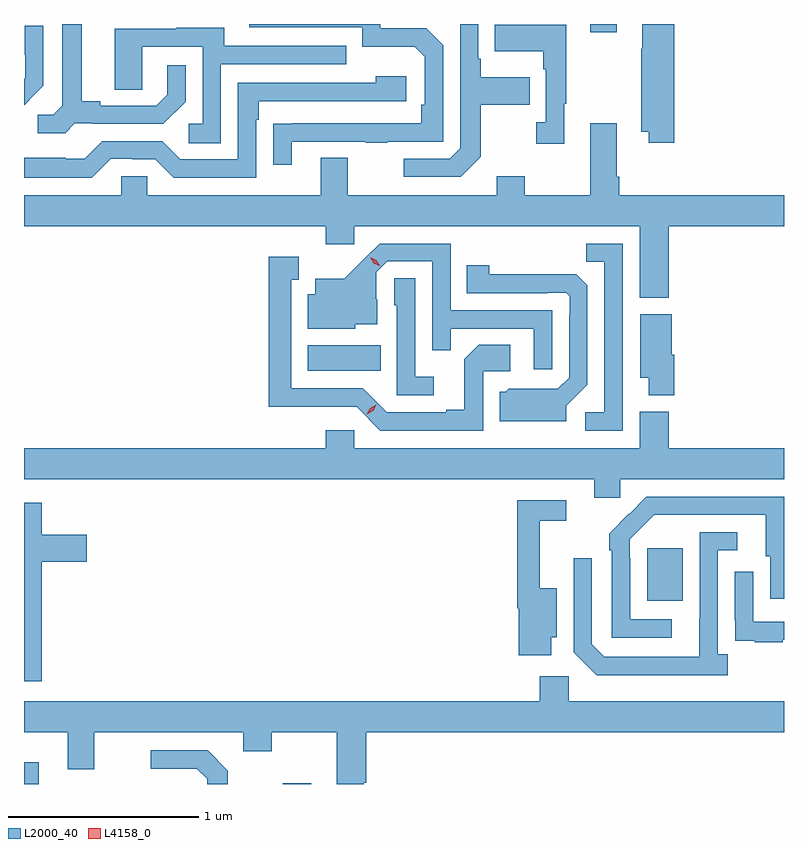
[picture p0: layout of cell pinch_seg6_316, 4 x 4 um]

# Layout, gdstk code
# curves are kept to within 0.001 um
import gdstk
lib = gdstk.Library(unit=1e-6, precision=1e-09)
def R(c, l, rs):  # rectangles x0, y0, x1, y1
    for r in rs: c.add(gdstk.rectangle(r[:2], r[2:], *l))
def P(c, l, *ps):  # polygons
    for p in ps: c.add(gdstk.Polygon(p, *l))
L2000_40 = (2000, 40)
L4158_0 = (4158, 0)

pinch_seg6_316 = lib.new_cell('pinch_seg6_316')
R(pinch_seg6_316, L2000_40, [(634.934,959.052,635.011,959.167), (636.297,959.052,636.445,959.056), (638.213,960.017,638.401,960.292), (636.428,961.226,636.812,961.36), (637.913,963.009,638.053,963.052)])
P(pinch_seg6_316, L2000_40, [(636.343,962.433),(636.733,962.433),(636.733,962.428),(636.845,962.428),(636.845,962.433),(637.14,962.433),(637.14,962.94),(637.05,963.03),(636.81,963.03),(636.81,963.052),(636.119,963.052),(636.119,963.036),(636.714,963.036),(636.714,962.933),(636.991,962.933),(637.044,962.88),(637.044,962.626),(637.024,962.626),(637.024,962.529),(636.247,962.528),(636.247,962.31),(636.343,962.31)],
  [(637.339,962.353),(637.339,962.626),(637.595,962.626),(637.595,962.773),(637.339,962.773),(637.339,962.869),(637.326,962.869),(637.326,963.052),(637.23,963.052),(637.23,962.397),(637.176,962.343),(636.933,962.343),(636.933,962.247),(637.233,962.247)],
  [(635.202,962.529),(635.296,962.529),(635.296,962.526),(635.668,962.526),(635.784,962.642),(635.784,962.836),(635.687,962.836),(635.687,962.679),(635.63,962.622),(635.335,962.622),(635.335,962.645),(635.239,962.645),(635.239,963.052),(635.135,963.052),(635.135,962.621),(635.088,962.574),(635.007,962.574),(635.007,962.477),(635.15,962.477)],
  [(638.357,963.052),(638.189,963.052),(638.189,962.921),(638.182,962.921),(638.182,962.486),(638.222,962.486),(638.222,962.427),(638.357,962.427)],
  [(637.777,962.633),(637.789,962.633),(637.789,963.049),(637.411,963.049),(637.411,962.909),(637.668,962.909),(637.668,962.813),(637.68,962.813),(637.68,962.534),(637.629,962.534),(637.629,962.421),(637.777,962.421)],
  [(634.962,962.652),(634.961,962.653),(635.034,962.726),(635.034,963.044),(634.938,963.044),(634.938,962.89),(634.94,962.89),(634.94,962.768),(634.934,962.762),(634.934,962.624)],
  [(635.97,962.841),(636.629,962.841),(636.629,962.937),(635.989,962.937),(635.989,963.031),(635.735,963.031),(635.735,963.027),(635.411,963.027),(635.411,962.707),(635.556,962.707),(635.556,962.931),(635.874,962.931),(635.874,962.526),(635.802,962.526),(635.802,962.425),(635.97,962.425)],
  [(635.391,962.343),(635.507,962.343),(635.507,962.34),(635.625,962.34),(635.721,962.244),(636.156,962.244),(636.156,962.549),(636.169,962.549),(636.169,962.646),(636.946,962.646),(636.946,962.776),(636.785,962.776),(636.785,962.742),(636.06,962.742),(636.06,962.34),(635.757,962.34),(635.661,962.436),(635.346,962.436),(635.253,962.343),(635.153,962.343),(635.153,962.347),(634.934,962.347),(634.934,962.243),(635.291,962.243)],
  [(638.327,961.988),(638.934,961.988),(638.934,962.152),(638.066,962.152),(638.066,962.248),(638.053,962.248),(638.053,962.53),(637.913,962.53),(637.913,962.152),(637.569,962.152),(637.569,962.251),(637.421,962.251),(637.421,962.152),(636.637,962.152),(636.637,962.347),(636.497,962.347),(636.497,962.152),(635.583,962.152),(635.583,962.25),(635.445,962.25),(635.445,962.152),(634.934,962.152),(634.934,961.988),(636.521,961.988),(636.521,961.893),(636.672,961.893),(636.672,961.988),(638.174,961.988),(638.174,961.61),(638.327,961.61)],
  [(637.713,961.545),(637.179,961.545),(637.179,961.896),(636.806,961.896),(636.619,961.711),(636.467,961.711),(636.467,961.63),(636.428,961.63),(636.428,961.448),(636.678,961.448),(636.678,961.472),(636.793,961.472),(636.793,961.604),(636.789,961.604),(636.789,961.746),(636.846,961.803),(637.083,961.803),(637.083,961.336),(637.181,961.336),(637.181,961.449),(637.617,961.449),(637.617,961.236),(637.713,961.236)],
  [(638.085,961.896),(637.894,961.896),(637.894,961.801),(637.989,961.801),(637.989,961.008),(637.887,961.008),(637.887,960.912),(638.085,960.912)],
  [(637.35,961.224),(637.492,961.224),(637.492,961.364),(637.327,961.364),(637.251,961.288),(637.251,961.021),(637.157,961.021),(637.157,961.008),(636.843,961.008),(636.717,961.134),(636.34,961.134),(636.34,961.707),(636.379,961.707),(636.379,961.828),(636.222,961.828),(636.222,961.037),(636.684,961.038),(636.81,960.912),(637.35,960.912)],
  [(637.789,961.044),(637.899,961.154),(637.899,961.676),(637.84,961.735),(637.383,961.736),(637.383,961.783),(637.264,961.783),(637.264,961.635),(637.688,961.635),(637.688,961.638),(637.788,961.638),(637.806,961.62),(637.806,961.52),(637.803,961.52),(637.803,961.191),(637.743,961.131),(637.486,961.132),(637.47,961.116),(637.439,961.116),(637.439,960.962),(637.789,960.962)],
  [(637.09,961.195),(636.993,961.195),(636.993,961.715),(636.882,961.715),(636.882,961.572),(636.897,961.572),(636.897,961.098),(637.09,961.098)],
  [(638.357,961.311),(638.344,961.311),(638.344,961.525),(638.177,961.525),(638.177,961.19),(638.222,961.19),(638.222,961.097),(638.357,961.097)],
  [(638.073,960.656),(638.934,960.656),(638.934,960.82),(638.327,960.82),(638.327,961.012),(638.174,961.012),(638.174,960.82),(636.672,960.82),(636.672,960.913),(636.521,960.913),(636.521,960.82),(634.934,960.82),(634.934,960.656),(637.934,960.656),(637.934,960.558),(638.073,960.558)],
  [(638.344,959.919),(638.124,959.919),(638.124,960.239),(638.121,960.239),(638.121,960.339),(638.25,960.468),(638.837,960.468),(638.837,960.252),(638.861,960.252),(638.861,960.027),(638.934,960.027),(638.934,960.564),(638.21,960.564),(638.013,960.369),(638.013,960.281),(638.028,960.281),(638.028,959.823),(638.344,959.823)],
  [(637.708,959.825),(637.738,959.825),(637.738,960.082),(637.649,960.082),(637.649,960.438),(637.789,960.438),(637.789,960.546),(637.531,960.546),(637.531,959.978),(637.538,959.978),(637.538,959.73),(637.708,959.73)],
  [(635.027,960.221),(635.263,960.221),(635.263,960.363),(635.027,960.363),(635.027,960.532),(634.934,960.532),(634.934,959.592),(635.027,959.592)],
  [(638.638,959.734),(638.586,959.734),(638.586,960.282),(638.689,960.282),(638.689,960.378),(638.49,960.378),(638.489,959.721),(637.989,959.721),(637.923,959.787),(637.923,960.241),(637.827,960.241),(637.827,959.745),(637.948,959.624),(638.638,959.624)],
  [(638.927,959.811),(638.934,959.811),(638.934,959.907),(638.772,959.907),(638.772,960.169),(638.676,960.169),(638.676,959.914),(638.677,959.914),(638.677,959.805),(638.779,959.805),(638.779,959.799),(638.927,959.799)],
  [(636.721,959.059),(636.734,959.059),(636.734,959.324),(638.934,959.324),(638.934,959.488),(637.8,959.488),(637.8,959.62),(637.649,959.62),(637.649,959.488),(634.934,959.488),(634.934,959.324),(635.165,959.324),(635.165,959.13),(635.305,959.13),(635.305,959.324),(636.089,959.324),(636.089,959.225),(636.237,959.225),(636.237,959.324),(636.581,959.324),(636.581,959.052),(636.721,959.052)],
  [(636.007,959.123),(635.901,959.229),(635.601,959.229),(635.601,959.133),(635.844,959.133),(635.898,959.079),(635.898,959.052),(636.007,959.052)])
P(pinch_seg6_316, L4158_0, [(636.805,961.779),(636.774,961.794),(636.757,961.824),(636.757,961.824),(636.757,961.824),(636.788,961.809),(636.806,961.779),(636.806,961.779)],
  [(636.739,960.997),(636.739,960.998),(636.757,961.03),(636.789,961.048),(636.789,961.048),(636.789,961.048),(636.771,961.016),(636.739,960.997)])

lib.write_gds('pinch_seg6_316.gds')
